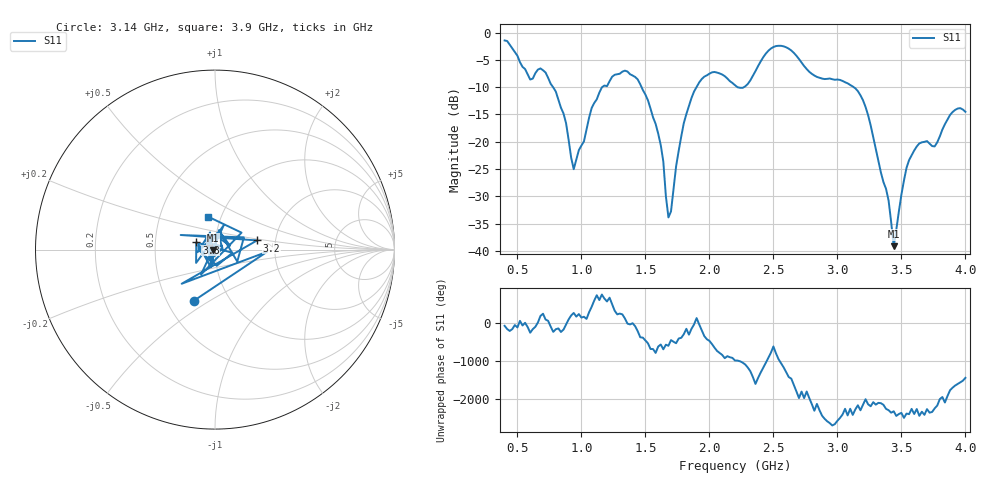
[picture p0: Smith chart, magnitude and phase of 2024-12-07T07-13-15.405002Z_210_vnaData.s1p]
!Created with skrf (http://scikit-rf.org).
# Hz S RI R 50.0
!freq ReS11 ImS11
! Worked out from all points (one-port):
!   181 points, 400 MHz to 4 GHz, reference 50 ohm
!   lowest |S11| = -39.2 dB at 3.44 GHz (marker M1), VSWR 1.02, Z = 49 - j0.352 ohm
!   |S11| at or under -10 dB: 778.2 MHz to 1.163 GHz (384.5 MHz wide, 39.6 % of centre); 1.47 GHz to 1.9 GHz (430 MHz wide, 25.5 % of centre); 3.126 GHz to end of sweep (the widest 3 of 4)
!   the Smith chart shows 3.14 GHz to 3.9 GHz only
!   S11 on the Smith chart (normalised r, x): 3.14 GHz: 0.68, -0.43; 3.2 GHz: 1.60, +0.17; 3.8 GHz: 0.81, +0.07; 3.9 GHz: 0.87, +0.33
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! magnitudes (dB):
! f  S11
! 400 MHz  -1.5
! 600 MHz  -8.6
! 720 MHz  -7.3
! 860 MHz  -14.8
! 940 MHz  -25.0
! 1.08 GHz  -13.8
! 1.3 GHz  -7.6
! 1.42 GHz  -8.1
! 1.52 GHz  -12.4
! 1.62 GHz  -20.6
! 1.68 GHz  -33.9
! 1.76 GHz  -21.7
! 1.86 GHz  -12.0
! 1.94 GHz  -8.5
! 2.2 GHz  -9.7
! 2.3 GHz  -9.4
! 2.5 GHz  -2.7
! 2.66 GHz  -3.7
! 2.82 GHz  -7.9
! 3.1 GHz  -9.6
! 3.14 GHz  -10.2
! 3.2 GHz  -12.4
! 3.4 GHz  -30.8
! 3.44 GHz  -39.2
! 3.56 GHz  -23.4
! 3.8 GHz  -19.0
! 3.9 GHz  -14.6
! 4 GHz  -14.5
